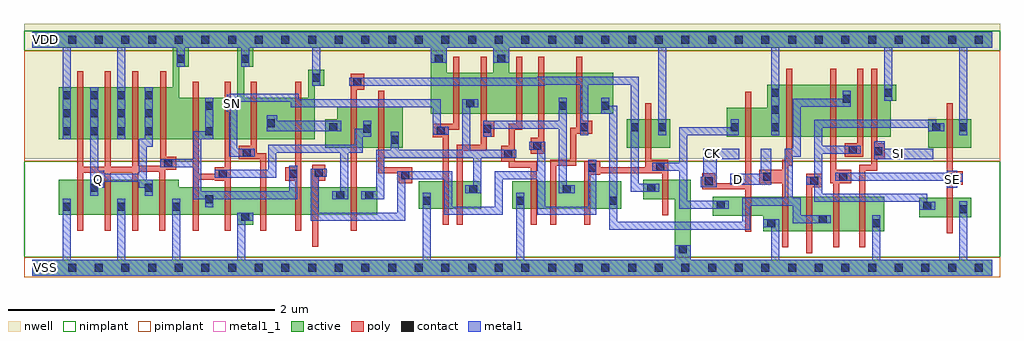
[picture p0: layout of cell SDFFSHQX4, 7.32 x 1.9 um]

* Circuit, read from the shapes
.subckt SDFFSHQX4 CK D Q SE SI SN VDD VSS
M1 Q n1 VSS VSS nfet w=0.26u l=0.045u m=4
M2 n1 n2 VSS VSS nfet w=0.205u l=0.045u m=2
M3 n3 SN VSS VSS nfet w=0.205u l=0.045u
M4 n4 n1 n3 VSS nfet w=0.205u l=0.045u
M5 n2 n5 n4 VSS nfet w=0.205u l=0.045u
M6 n6 n7 n2 VSS nfet w=0.205u l=0.045u
M7 n8 SN VSS VSS nfet w=0.205u l=0.045u
M8 n6 n9 n8 VSS nfet w=0.205u l=0.045u
M9 n10 n6 VSS VSS nfet w=0.205u l=0.045u
M10 n9 n7 n10 VSS nfet w=0.205u l=0.045u
M11 n11 n5 n9 VSS nfet w=0.205u l=0.045u
M12 VSS n5 n7 VSS nfet w=0.145u l=0.045u
M13 VSS CK n5 VSS nfet w=0.145u l=0.045u
M14 n12 D VSS VSS nfet w=0.26u l=0.045u
M15 n11 n13 n12 VSS nfet w=0.26u l=0.045u
M16 n14 SE n11 VSS nfet w=0.26u l=0.045u
M17 VSS SI n14 VSS nfet w=0.26u l=0.045u
M18 VSS SE n13 VSS nfet w=0.145u l=0.045u
M19 Q n1 VDD VDD pfet w=0.39u l=0.045u m=4
M20 n1 n2 VDD VDD pfet w=0.31u l=0.045u m=2
M21 n15 SN VDD VDD pfet w=0.31u l=0.045u
M22 VDD n1 n15 VDD pfet w=0.31u l=0.045u
M23 n2 n7 n15 VDD pfet w=0.31u l=0.045u
M24 n6 n5 n2 VDD pfet w=0.31u l=0.045u
M25 n6 SN VDD VDD pfet w=0.31u l=0.045u
M26 VDD n9 n6 VDD pfet w=0.31u l=0.045u
M27 n16 n6 VDD VDD pfet w=0.31u l=0.045u
M28 n9 n5 n16 VDD pfet w=0.31u l=0.045u
M29 n11 n7 n9 VDD pfet w=0.31u l=0.045u
M30 VDD n5 n7 VDD pfet w=0.215u l=0.045u
M31 VDD CK n5 VDD pfet w=0.215u l=0.045u
M32 n17 D VDD VDD pfet w=0.39u l=0.045u
M33 n11 SE n17 VDD pfet w=0.39u l=0.045u
M34 n18 n13 n11 VDD pfet w=0.39u l=0.045u
M35 VDD SI n18 VDD pfet w=0.39u l=0.045u
M36 VDD SE n13 VDD pfet w=0.215u l=0.045u
.ends

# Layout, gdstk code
import gdstk
lib = gdstk.Library(unit=1e-6, precision=5e-10)
def R(c, l, rs):  # rectangles x0, y0, x1, y1
    for r in rs: c.add(gdstk.rectangle(r[:2], r[2:], *l))
def A(c, l, x, y, w, h, nx, ny, dx, dy):  # array of equal rectangles
    R(c, l, [(x+i*dx, y+j*dy, x+i*dx+w, y+j*dy+h) for i in range(nx) for j in range(ny)])
def P(c, l, *ps):  # polygons
    for p in ps: c.add(gdstk.Polygon(p, *l))
active = (1, 0)
nwell = (2, 0)
poly = (3, 0)
nimplant = (4, 0)
pimplant = (5, 0)
contact = (6, 0)
metal1 = (7, 0)
metal1_1 = (7, 1)

sdffshqx4 = lib.new_cell('SDFFSHQX4')
R(sdffshqx4, active, [(6.655,0.38,7.045,0.525), (2.9,0.445,3.37,0.65), (3.6,0.445,4.42,0.65), (4.46,0.9,4.785,1.115), (6.72,0.9,7.045,1.115)])
P(sdffshqx4, active, [(0,1.77),(7.2,1.77),(7.2,1.65),(3.58,1.65),(3.58,1.465),(4.36,1.465),(4.36,1.155),(2.99,1.155),(2.99,1.65),(3.11,1.65),(3.11,1.465),(3.46,1.465),(3.46,1.65),(1.66,1.65),(1.66,1.51),(1.59,1.51),(1.59,1.275),(2.07,1.275),(2.07,1.485),(2.19,1.485),(2.19,1.365),(2.12,1.365),(2.12,0.965),(0.2,0.965),(0.2,1.355),(1.055,1.355),(1.055,1.65),(1.175,1.65),(1.175,1.51),(1.105,1.51),(1.105,1.275),(1.54,1.275),(1.54,1.65),(0,1.65)],
  [(2.29,1.21),(2.78,1.21),(2.78,0.9),(2.2,0.9),(2.2,1.115),(2.29,1.115)],
  [(5.515,1.375),(6.48,1.375),(6.48,1.255),(6.44,1.255),(6.44,0.985),(5.21,0.985),(5.21,1.2),(5.515,1.2)],
  [(0.2,0.66),(1.1,0.66),(1.1,0.605),(2.59,0.605),(2.59,0.4),(1.66,0.4),(1.66,0.325),(1.54,0.325),(1.54,0.4),(0.2,0.4)],
  [(4.585,0.66),(4.94,0.66),(4.94,0.06),(7.2,0.06),(7.2,-0.06),(0,-0.06),(0,0.06),(4.82,0.06),(4.82,0.515),(4.585,0.515)],
  [(5.105,0.535),(6.39,0.535),(6.39,0.275),(5.485,0.275),(5.485,0.39),(5.105,0.39)])
R(sdffshqx4, nwell, [(-0.06,0.82,7.26,1.83)])
P(sdffshqx4, poly, [(0.34,1.475),(0.385,1.475),(0.385,0.76),(0.545,0.76),(0.545,1.475),(0.59,1.475),(0.59,0.76),(0.75,0.76),(0.75,1.475),(0.795,1.475),(0.795,0.765),(0.96,0.765),(0.96,1.475),(1.005,1.475),(1.005,0.835),(1.08,0.835),(1.08,0.735),(1,0.735),(1,0.28),(0.955,0.28),(0.955,0.72),(0.795,0.72),(0.795,0.28),(0.75,0.28),(0.75,0.715),(0.59,0.715),(0.59,0.28),(0.545,0.28),(0.545,0.715),(0.385,0.715),(0.385,0.28),(0.34,0.28)],
  [(2.39,1.455),(2.49,1.455),(2.49,1.335),(2.435,1.335),(2.435,0.28),(2.39,0.28)],
  [(1.205,1.395),(1.25,1.395),(1.25,0.705),(1.37,0.705),(1.37,0.755),(1.445,0.755),(1.445,1.395),(1.49,1.395),(1.49,0.28),(1.445,0.28),(1.445,0.655),(1.37,0.655),(1.37,0.66),(1.25,0.66),(1.25,0.28),(1.205,0.28)],
  [(1.64,1.395),(1.685,1.395),(1.685,0.86),(1.755,0.86),(1.755,0.28),(1.71,0.28),(1.71,0.815),(1.55,0.815),(1.55,0.915),(1.64,0.915)],
  [(1.975,1.395),(2.02,1.395),(2.02,0.28),(1.975,0.28),(1.975,0.655),(1.9,0.655),(1.9,0.755),(1.975,0.755)],
  [(3.16,1.585),(3.205,1.585),(3.205,1.035),(3.125,1.035),(3.125,0.325),(3.08,0.325),(3.08,0.98),(3.005,0.98),(3.005,1.08),(3.16,1.08)],
  [(3.365,1.585),(3.41,1.585),(3.41,1.105),(3.465,1.105),(3.465,0.985),(3.41,0.985),(3.41,0.88),(3.23,0.88),(3.23,0.325),(3.185,0.325),(3.185,0.925),(3.365,0.925)],
  [(3.63,1.585),(3.675,1.585),(3.675,1.035),(3.62,1.035),(3.62,0.795),(3.785,0.795),(3.785,0.325),(3.74,0.325),(3.74,0.75),(3.575,0.75),(3.575,0.795),(3.52,0.795),(3.52,0.915),(3.575,0.915),(3.575,1.08),(3.63,1.08)],
  [(3.795,1.585),(3.84,1.585),(3.84,0.855),(3.74,0.855),(3.74,0.975),(3.795,0.975)],
  [(4.08,1.585),(4.125,1.585),(4.125,1.105),(4.2,1.105),(4.2,1.005),(4.08,1.005),(4.08,0.765),(3.93,0.765),(3.93,0.325),(3.885,0.325),(3.885,0.81),(4.035,0.81),(4.035,1.05),(4.08,1.05)],
  [(5.655,1.495),(5.7,1.495),(5.7,0.765),(5.67,0.765),(5.67,0.155),(5.625,0.155),(5.625,0.635),(5.455,0.635),(5.455,0.735),(5.625,0.735),(5.625,0.81),(5.655,0.81)],
  [(5.985,1.495),(6.03,1.495),(6.03,0.735),(6.145,0.735),(6.145,0.635),(6.055,0.635),(6.055,0.155),(6.01,0.155),(6.01,0.635),(5.985,0.635)],
  [(6.19,1.495),(6.235,1.495),(6.235,0.835),(6.095,0.835),(6.095,0.935),(6.19,0.935)],
  [(6.295,1.495),(6.34,1.495),(6.34,0.935),(6.395,0.935),(6.395,0.815),(6.34,0.815),(6.34,0.73),(6.25,0.73),(6.25,0.155),(6.205,0.155),(6.205,0.775),(6.295,0.775)],
  [(2.595,1.33),(2.64,1.33),(2.64,0.755),(2.85,0.755),(2.85,0.635),(2.75,0.635),(2.75,0.71),(2.595,0.71)],
  [(5.025,0.71),(5.125,0.71),(5.125,0.635),(5.35,0.635),(5.35,1.32),(5.395,1.32),(5.395,0.27),(5.35,0.27),(5.35,0.59),(5.025,0.59)],
  [(4.6,1.235),(4.645,1.235),(4.645,0.81),(4.77,0.81),(4.77,0.395),(4.725,0.395),(4.725,0.71),(4.26,0.71),(4.26,0.7),(4.185,0.7),(4.185,0.325),(4.14,0.325),(4.14,0.8),(4.26,0.8),(4.26,0.755),(4.6,0.755)],
  [(6.86,1.235),(6.905,1.235),(6.905,0.725),(6.98,0.725),(6.98,0.625),(6.905,0.625),(6.905,0.26),(6.86,0.26)],
  [(2.1,0.775),(2.2,0.775),(2.2,0.655),(2.145,0.655),(2.145,0.16),(2.1,0.16)],
  [(5.805,0.705),(5.925,0.705),(5.925,0.605),(5.85,0.605),(5.85,0.11),(5.805,0.11)])
R(sdffshqx4, nimplant, [(-0.06,0.08,7.26,0.8), (-0.06,1.63,7.26,1.78)])
R(sdffshqx4, pimplant, [(-0.06,-0.07,7.26,0.08), (-0.06,0.8,7.26,1.63)])
A(sdffshqx4, contact, 0.07, -0.03, 0.06, 0.06, 36, 2, 0.2, 1.71)
A(sdffshqx4, contact, 0.23, 0.43, 0.06, 0.06, 3, 1, 0.41, 0)
A(sdffshqx4, contact, 2.93, 0.475, 0.06, 0.06, 3, 1, 0.7, 0)
A(sdffshqx4, contact, 0.23, 0.995, 0.06, 0.06, 4, 3, 0.205, 0.135)
A(sdffshqx4, contact, 5.545, 1.025, 0.06, 0.06, 1, 3, 0, 0.13)
R(sdffshqx4, contact, [(4.85,0.11,4.91,0.17), (5.515,0.305,5.575,0.365), (6.3,0.305,6.36,0.365), (5.9,0.335,5.96,0.395), (1.57,0.355,1.63,0.415), (6.955,0.41,7.015,0.47), (6.685,0.435,6.745,0.495), (5.135,0.445,5.195,0.505), (1.3,0.485,1.36,0.545), (2.28,0.515,2.34,0.575), (2.5,0.515,2.56,0.575), (3.28,0.56,3.34,0.62), (3.98,0.56,4.04,0.62), (0.435,0.57,0.495,0.63), (0.845,0.57,0.905,0.63), (4.615,0.57,4.675,0.63), (5.045,0.62,5.105,0.68), (5.835,0.625,5.895,0.685), (6.89,0.645,6.95,0.705), (5.485,0.655,5.545,0.715), (6.055,0.655,6.115,0.715), (2.77,0.665,2.83,0.725), (1.4,0.675,1.46,0.735), (1.93,0.675,1.99,0.735), (2.12,0.685,2.18,0.745), (4.17,0.72,4.23,0.78), (4.68,0.73,4.74,0.79), (0.99,0.755,1.05,0.815), (3.54,0.825,3.6,0.885), (1.58,0.835,1.64,0.895), (6.315,0.845,6.375,0.905), (6.125,0.855,6.185,0.915), (3.76,0.885,3.82,0.945), (2.69,0.93,2.75,0.99), (1.3,0.995,1.36,1.055), (3.035,1,3.095,1.06), (2.485,1.015,2.545,1.075), (3.385,1.015,3.445,1.075), (2.23,1.025,2.29,1.085), (4.11,1.025,4.17,1.085), (4.49,1.025,4.55,1.085), (4.695,1.025,4.755,1.085), (5.24,1.025,5.3,1.085), (6.75,1.025,6.81,1.085), (6.955,1.025,7.015,1.085), (1.76,1.055,1.82,1.115), (1.3,1.185,1.36,1.245), (3.95,1.185,4.01,1.245), (4.27,1.185,4.33,1.245), (3.255,1.205,3.315,1.265), (6.08,1.24,6.14,1.3), (6.39,1.285,6.45,1.345), (2.41,1.365,2.47,1.425), (2.1,1.395,2.16,1.455), (1.085,1.54,1.145,1.6), (1.57,1.54,1.63,1.6), (3.02,1.54,3.08,1.6), (3.49,1.54,3.55,1.6)])
P(sdffshqx4, metal1, [(0,1.77),(7.2,1.77),(7.2,1.65),(7.015,1.65),(7.015,0.995),(6.955,0.995),(6.955,1.65),(6.45,1.65),(6.45,1.255),(6.39,1.255),(6.39,1.65),(5.605,1.65),(5.605,0.995),(5.545,0.995),(5.545,1.65),(4.755,1.65),(4.755,0.995),(4.695,0.995),(4.695,1.65),(3.58,1.65),(3.58,1.54),(3.46,1.54),(3.46,1.65),(3.11,1.65),(3.11,1.54),(2.99,1.54),(2.99,1.65),(2.16,1.65),(2.16,1.365),(2.1,1.365),(2.1,1.65),(1.63,1.65),(1.63,1.51),(1.57,1.51),(1.57,1.65),(1.145,1.65),(1.145,1.51),(1.085,1.51),(1.085,1.65),(0.7,1.65),(0.7,0.965),(0.64,0.965),(0.64,1.65),(0.29,1.65),(0.29,0.965),(0.23,0.965),(0.23,1.65),(0,1.65)],
  [(0.435,1.355),(0.495,1.355),(0.495,0.73),(0.54,0.73),(0.54,0.705),(0.8,0.705),(0.8,0.97),(0.845,0.97),(0.845,1.355),(0.905,1.355),(0.905,0.91),(0.86,0.91),(0.86,0.66),(0.905,0.66),(0.905,0.54),(0.845,0.54),(0.845,0.6),(0.8,0.6),(0.8,0.645),(0.54,0.645),(0.54,0.6),(0.495,0.6),(0.495,0.54),(0.435,0.54)],
  [(3.79,1.435),(4.55,1.435),(4.55,0.63),(4.705,0.63),(4.705,0.57),(4.49,0.57),(4.49,1.375),(4.17,1.375),(4.17,0.995),(4.11,0.995),(4.11,1.375),(3.85,1.375),(3.85,1.365),(2.38,1.365),(2.38,1.425),(3.79,1.425)],
  [(1.48,1.305),(2,1.305),(2,1.265),(3.065,1.265),(3.065,1.06),(3.125,1.06),(3.125,1),(3.005,1),(3.005,1.205),(1.94,1.205),(1.94,1.245),(1.54,1.245),(1.54,0.895),(1.67,0.895),(1.67,0.835),(1.48,0.835),(1.48,1.17),(1.46,1.17),(1.46,1.3),(1.48,1.3)],
  [(1.3,1.275),(1.36,1.275),(1.36,0.965),(1.27,0.965),(1.27,0.575),(1.93,0.575),(1.93,0.765),(1.99,0.765),(1.99,0.515),(1.36,0.515),(1.36,0.455),(1.3,0.455),(1.3,0.515),(1.21,0.515),(1.21,0.755),(0.96,0.755),(0.96,0.815),(1.21,0.815),(1.21,1.025),(1.3,1.025)],
  [(1.76,1.145),(1.84,1.145),(1.84,1.105),(2.32,1.105),(2.32,1.025),(1.76,1.025)],
  [(3.95,1.275),(4.01,1.275),(4.01,0.62),(4.07,0.62),(4.07,0.56),(3.95,0.56),(3.95,1.045),(3.445,1.045),(3.445,0.985),(3.385,0.985),(3.385,1.105),(3.95,1.105)],
  [(2.485,1.105),(2.545,1.105),(2.545,0.985),(2.48,0.985),(2.48,0.865),(2.37,0.865),(2.37,0.515),(2.25,0.515),(2.25,0.575),(2.31,0.575),(2.31,0.865),(1.83,0.865),(1.83,0.675),(1.37,0.675),(1.37,0.735),(1.77,0.735),(1.77,0.925),(2.42,0.925),(2.42,1.045),(2.485,1.045)],
  [(3.225,1.265),(3.345,1.265),(3.345,1.205),(3.285,1.205),(3.285,0.885),(3.63,0.885),(3.63,0.825),(3.37,0.825),(3.37,0.56),(3.25,0.56),(3.25,0.62),(3.31,0.62),(3.31,0.825),(2.64,0.825),(2.64,0.515),(2.47,0.515),(2.47,0.575),(2.58,0.575),(2.58,0.885),(2.69,0.885),(2.69,1.02),(2.75,1.02),(2.75,0.885),(3.225,0.885)],
  [(0.23,0.52),(0.29,0.52),(0.29,0.06),(0.64,0.06),(0.64,0.52),(0.7,0.52),(0.7,0.06),(1.05,0.06),(1.05,0.52),(1.11,0.52),(1.11,0.06),(1.54,0.06),(1.54,0.415),(1.66,0.415),(1.66,0.355),(1.6,0.355),(1.6,0.06),(2.93,0.06),(2.93,0.565),(2.99,0.565),(2.99,0.06),(3.63,0.06),(3.63,0.565),(3.69,0.565),(3.69,0.06),(4.82,0.06),(4.82,0.17),(4.94,0.17),(4.94,0.06),(5.545,0.06),(5.545,0.305),(5.485,0.305),(5.485,0.365),(5.605,0.365),(5.605,0.06),(6.3,0.06),(6.3,0.395),(6.36,0.395),(6.36,0.06),(6.955,0.06),(6.955,0.5),(7.015,0.5),(7.015,0.06),(7.2,0.06),(7.2,-0.06),(0,-0.06),(0,0.06),(0.23,0.06)],
  [(3.73,0.945),(3.85,0.945),(3.85,0.46),(4.17,0.46),(4.17,0.81),(4.23,0.81),(4.23,0.4),(3.79,0.4),(3.79,0.665),(3.53,0.665),(3.53,0.4),(3.09,0.4),(3.09,0.665),(2.8,0.665),(2.8,0.355),(2.09,0.355),(2.09,0.745),(2.21,0.745),(2.21,0.685),(2.15,0.685),(2.15,0.415),(2.74,0.415),(2.74,0.725),(3.15,0.725),(3.15,0.46),(3.47,0.46),(3.47,0.725),(3.79,0.725),(3.79,0.885),(3.73,0.885)],
  [(4.27,1.275),(4.33,1.275),(4.33,1.215),(4.39,1.215),(4.39,0.345),(5.325,0.345),(5.325,0.525),(5.645,0.525),(5.645,0.895),(5.705,0.895),(5.705,1.27),(6.08,1.27),(6.08,1.33),(6.14,1.33),(6.14,1.21),(5.765,1.21),(5.765,0.835),(5.705,0.835),(5.705,0.525),(5.765,0.525),(5.765,0.395),(5.99,0.395),(5.99,0.335),(5.705,0.335),(5.705,0.465),(5.385,0.465),(5.385,0.285),(4.33,0.285),(4.33,1.155),(4.27,1.155)],
  [(5.24,1.115),(5.3,1.115),(5.3,0.995),(4.915,0.995),(4.915,0.505),(5.225,0.505),(5.225,0.445),(4.855,0.445),(4.855,0.73),(4.65,0.73),(4.65,0.79),(4.855,0.79),(4.855,1.055),(5.24,1.055)],
  [(5.035,0.895),(5.305,0.895),(5.305,0.815),(5.135,0.815),(5.135,0.605),(5.015,0.605),(5.015,0.685),(5.035,0.685)],
  [(5.865,1.11),(6.78,1.11),(6.78,1.085),(6.84,1.085),(6.84,1.025),(6.72,1.025),(6.72,1.05),(5.925,1.05),(5.925,0.915),(6.215,0.915),(6.215,0.855),(5.925,0.855),(5.925,0.555),(6.715,0.555),(6.715,0.495),(6.775,0.495),(6.775,0.435),(6.655,0.435),(6.655,0.495),(5.865,0.495),(5.865,0.625),(5.805,0.625),(5.805,0.685),(5.865,0.685)],
  [(5.465,0.895),(5.545,0.895),(5.545,0.625),(5.235,0.625),(5.235,0.705),(5.465,0.705)],
  [(6.315,0.95),(6.395,0.95),(6.395,0.895),(6.76,0.895),(6.76,0.815),(6.315,0.815)],
  [(6.86,0.73),(6.94,0.73),(6.94,0.705),(6.98,0.705),(6.98,0.645),(6.94,0.645),(6.94,0.6),(6.86,0.6),(6.86,0.655),(6.025,0.655),(6.025,0.715),(6.86,0.715)])
R(sdffshqx4, metal1_1, [(0.06,-0.04,0.14,0.04), (0.46,0.625,0.54,0.705), (5.26,0.625,5.34,0.705), (6.86,0.625,6.94,0.705), (5.06,0.815,5.14,0.895), (6.46,0.815,6.54,0.895), (1.46,1.195,1.54,1.275), (0.06,1.67,0.14,1.75)])
sdffshqx4.add(gdstk.Label('SE', (6.9,0.665), layer=7, texttype=1))
sdffshqx4.add(gdstk.Label('SI', (6.5,0.855), layer=7, texttype=1))
sdffshqx4.add(gdstk.Label('D', (5.3,0.665), layer=7, texttype=1))
sdffshqx4.add(gdstk.Label('CK', (5.1,0.855), layer=7, texttype=1))
sdffshqx4.add(gdstk.Label('SN', (1.5,1.235), layer=7, texttype=1))
sdffshqx4.add(gdstk.Label('Q', (0.5,0.665), layer=7, texttype=1))
sdffshqx4.add(gdstk.Label('VDD', (0.1,1.71), layer=7, texttype=1))
sdffshqx4.add(gdstk.Label('VSS', (0.1,0), layer=7, texttype=1))
sdffshqx4.add(gdstk.Label('SDFFSHQX4', (0,0), layer=63, texttype=0))

lib.write_gds('SDFFSHQX4.gds')
